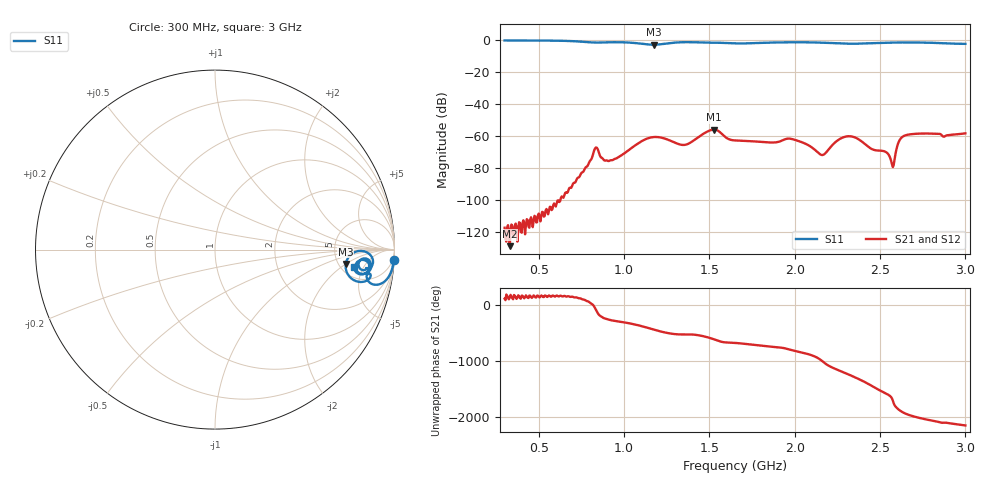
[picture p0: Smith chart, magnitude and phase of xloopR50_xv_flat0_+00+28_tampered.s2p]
! xloopR50_xv_flat0_+00+28_tampered, gap C 0.80 pF
! simulated by sim/fixtures_fdtd.py (S12 = S21, S22 not computed)
# HZ S RI R 50
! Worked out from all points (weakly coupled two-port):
!   541 points, 300 MHz to 3 GHz, reference 50 ohm
!   highest |S21| = -55.82 dB at 1.525 GHz (marker M1); lowest = -128.9 dB at 330 MHz (marker M2)
!   lowest |S11| = -2.7 dB at 1.175 GHz (marker M3), VSWR 6.50, Z = 289 - j100 ohm
!   |S11| at or under -10 dB: nowhere
!   |S22| runs from - to - dB; largest |S21 - S12| = 0
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3e8  0.9964 -0.0606  -4e-07 1.3e-06  -4e-07 1.3e-06  0 0
3.3e8  0.9955 -0.0674  -2e-07 3e-07  -2e-07 3e-07  0 0
7.5e8  0.8929 -0.1957  -1.63e-05 6.91e-05  -1.63e-05 6.91e-05  0 0
7.85e8  0.8637 -0.1857  5.52e-05 0.000102  5.52e-05 0.000102  0 0
8.35e8  0.8452 -0.1549  7.9e-06 -0.000444  7.9e-06 -0.000444  0 0
8.75e8  0.8536 -0.135  -0.000133 0.000148  -0.000133 0.000148  0 0
9.2e8  0.8658 -0.1377  7.5e-06 0.000176  7.5e-06 0.000176  0 0
1.175e9  0.729 -0.0799  0.000121 -0.000935  0.000121 -0.000935  0 0
1.2e9  0.7435 -0.0434  -0.000224 -0.000911  -0.000224 -0.000911  0 0
1.355e9  0.8801 -0.0609  -0.000522 -0.000119  -0.000522 -0.000119  0 0
1.525e9  0.8422 -0.1028  -0.000476 0.00155  -0.000476 0.00155  0 0
1.65e9  0.8003 -0.0904  0.000549 0.000494  0.000549 0.000494  0 0
1.97e9  0.8691 -0.0813  0.000201 -0.000817  0.000201 -0.000817  0 0
2.1e9  0.8591 -0.1205  -0.000447 -1.48e-05  -0.000447 -1.48e-05  0 0
2.165e9  0.8385 -0.1334  9.25e-05 0.000243  9.25e-05 0.000243  0 0
2.255e9  0.799 -0.1276  0.000117 -0.000755  0.000117 -0.000755  0 0
2.325e9  0.7816 -0.095  -0.000983 -0.000163  -0.000983 -0.000163  0 0
2.55e9  0.8468 -0.0663  -0.00025 -8.54e-05  -0.00025 -8.54e-05  0 0
2.575e9  0.8528 -0.0721  -1.25e-05 0.000107  -1.25e-05 0.000107  0 0
2.61e9  0.8581 -0.0837  0.000309 -0.000598  0.000309 -0.000598  0 0
2.655e9  0.8583 -0.0972  -0.000844 -0.000692  -0.000844 -0.000692  0 0
3e9  0.7756 -0.0948  0.00118 0.000366  0.00118 0.000366  0 0
